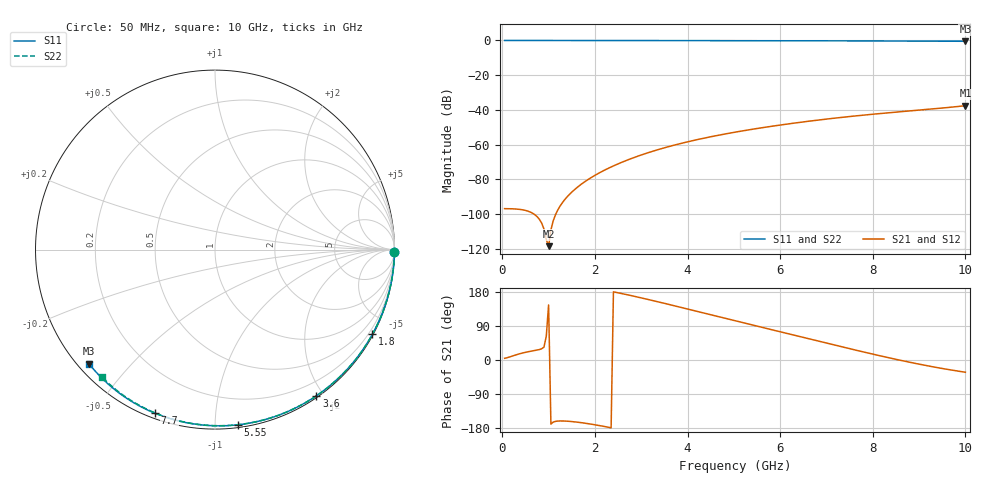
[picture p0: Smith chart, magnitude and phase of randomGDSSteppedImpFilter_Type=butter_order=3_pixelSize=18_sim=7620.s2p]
! freq	dB(S11)	phase(S11)	dB(S12)	phase(S12)
!  dB(S21)	phase(S21)	dB(S22)	phase(S22)
!S-par simulation data
#  GHz  S  DB  R 50
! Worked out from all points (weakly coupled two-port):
!   200 points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, 50 MHz to 10 GHz, reference 50 ohm
!   highest |S21| = -37.62 dB at 10 GHz (marker M1); lowest = -118.5 dB at 1 GHz (marker M2)
!   lowest |S11| = -0.5 dB at 10 GHz (marker M3), VSWR 36.79, Z = 1.56 - j19.3 ohm
!   |S11| at or under -10 dB: nowhere
!   |S22| runs from -0.5 to 0.0 dB; largest |S21 - S12| = 0
!   S11 on the Smith chart (normalised r, x): 50 MHz: open; 1.8 GHz: 0.03, -3.97; 3.6 GHz: 0.02, -1.91; 5.55 GHz: 0.02, -1.14; 7.7 GHz: 0.02, -0.70; 10 GHz: 0.03, -0.39
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0.05  -0.00 -0.8  -96.93 4.5  -96.93 4.5  -0.00 -0.8
0.5  -0.01 -8.0  -97.94 20.3  -97.94 20.3  -0.01 -7.6
1  -0.02 -15.9  -118.55 145.4  -118.55 145.4  -0.02 -15.1
1.75  -0.04 -27.5  -81.98 -166.1  -81.98 -166.1  -0.03 -26.2
1.8  -0.04 -28.3  -81.06 -167.0  -81.06 -167.0  -0.03 -26.9
1.85  -0.04 -29.1  -80.18 -167.9  -80.18 -167.9  -0.04 -27.6
2.25  -0.05 -35.2  -74.17 -176.5  -74.17 -176.5  -0.04 -33.5
2.45  -0.05 -38.2  -71.69 178.7  -71.69 178.7  -0.05 -36.3
2.65  -0.05 -41.2  -69.45 173.5  -69.45 173.5  -0.05 -39.2
3  -0.06 -46.4  -66.00 164.0  -66.00 164.0  -0.06 -44.2
3.4  -0.07 -52.3  -62.63 152.5  -62.63 152.5  -0.07 -49.8
3.6  -0.07 -55.3  -61.12 146.6  -61.12 146.6  -0.07 -52.6
3.9  -0.08 -59.6  -59.06 137.6  -59.06 137.6  -0.08 -56.7
4.3  -0.09 -65.3  -56.62 125.5  -56.62 125.5  -0.09 -62.2
5.05  -0.12 -75.7  -52.74 102.9  -52.74 102.9  -0.11 -72.1
5.55  -0.14 -82.4  -50.53 87.9  -50.53 87.9  -0.13 -78.6
6.1  -0.16 -89.7  -48.37 71.5  -48.37 71.5  -0.15 -85.5
6.7  -0.19 -97.5  -46.26 53.6  -46.26 53.6  -0.18 -92.9
7.7  -0.25 -110.1  -43.29 24.1  -43.29 24.1  -0.24 -104.9
8.35  -0.30 -118.0  -41.65 5.8  -41.65 5.8  -0.29 -112.5
9.2  -0.38 -128.3  -39.67 -15.7  -39.67 -15.7  -0.36 -122.3
10  -0.47 -137.8  -37.62 -32.2  -37.62 -32.2  -0.46 -131.4
